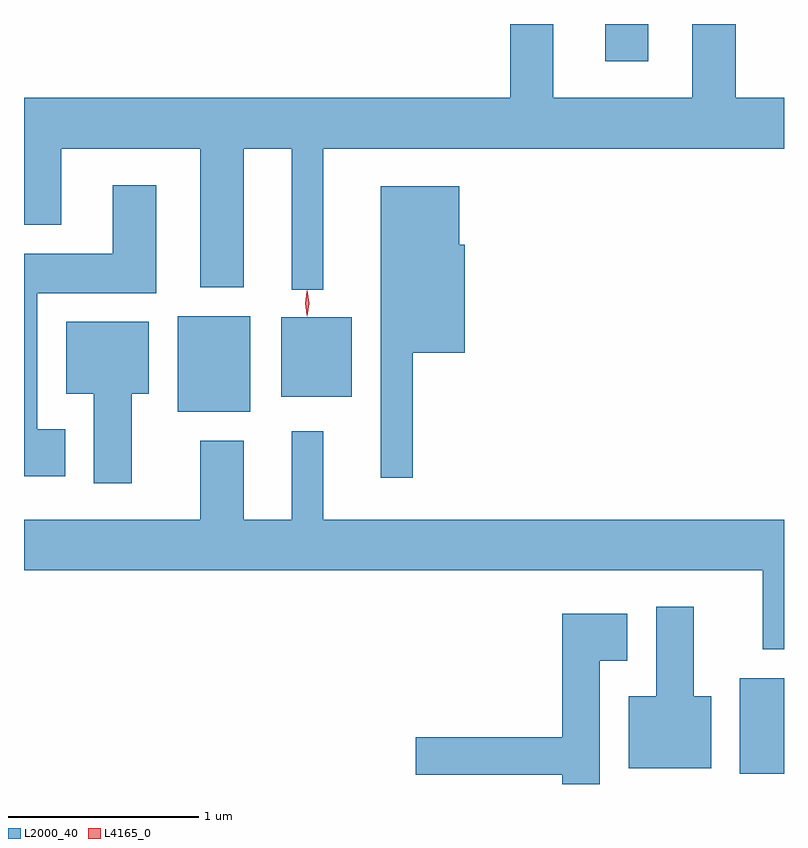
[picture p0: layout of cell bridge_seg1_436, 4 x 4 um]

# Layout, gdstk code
import gdstk
lib = gdstk.Library(unit=1e-6, precision=1e-09)
def R(c, l, rs):  # rectangles x0, y0, x1, y1
    for r in rs: c.add(gdstk.rectangle(r[:2], r[2:], *l))
def P(c, l, *ps):  # polygons
    for p in ps: c.add(gdstk.Polygon(p, *l))
L2000_40 = (2000, 40)
L4165_0 = (4165, 0)

bridge_seg1_436 = lib.new_cell('bridge_seg1_436')
R(bridge_seg1_436, L2000_40, [(410.851,880.746,411.083,881.249), (407.891,882.651,408.274,883.154), (408.436,882.731,408.809,883.149), (410.141,884.496,410.369,884.692)])
P(bridge_seg1_436, L2000_40, [(408.659,884.036),(411.083,884.036),(411.083,884.304),(410.829,884.304),(410.829,884.692),(410.601,884.692),(410.601,884.304),(409.869,884.304),(409.869,884.692),(409.641,884.692),(409.641,884.304),(407.083,884.304),(407.083,883.636),(407.279,883.636),(407.279,884.036),(408.011,884.036),(408.011,883.306),(408.239,883.306),(408.239,884.036),(408.491,884.036),(408.491,883.293),(408.659,883.293)],
  [(407.299,882.559),(407.154,882.559),(407.154,883.276),(407.779,883.276),(407.779,883.844),(407.551,883.844),(407.551,883.484),(407.083,883.484),(407.083,882.311),(407.299,882.311)],
  [(409.129,882.961),(409.404,882.961),(409.404,883.529),(409.374,883.529),(409.374,883.839),(408.961,883.839),(408.961,882.303),(409.129,882.303)],
  [(407.649,882.746),(407.739,882.746),(407.739,883.124),(407.306,883.124),(407.306,882.746),(407.451,882.746),(407.451,882.276),(407.649,882.276)],
  [(411.083,882.084),(408.659,882.084),(408.659,882.548),(408.491,882.548),(408.491,882.084),(408.239,882.084),(408.239,882.499),(408.011,882.499),(408.011,882.084),(407.083,882.084),(407.083,881.816),(410.971,881.816),(410.971,881.401),(411.083,881.401)],
  [(410.699,881.154),(410.609,881.154),(410.609,881.624),(410.411,881.624),(410.411,881.154),(410.266,881.154),(410.266,880.776),(410.699,880.776)],
  [(410.114,881.341),(410.259,881.341),(410.259,881.589),(409.916,881.589),(409.916,880.939),(409.146,880.939),(409.146,880.741),(409.916,880.741),(409.916,880.692),(410.114,880.692)])
P(bridge_seg1_436, L4165_0, [(408.574,883.154),(408.574,883.154),(408.564,883.222),(408.574,883.29),(408.575,883.29),(408.575,883.29),(408.584,883.222),(408.574,883.154)],
  [(408.573,883.158),(408.572,883.159),(408.563,883.222),(408.572,883.286),(408.573,883.287),(408.573,883.286),(408.583,883.222),(408.573,883.159)])

lib.write_gds('bridge_seg1_436.gds')
